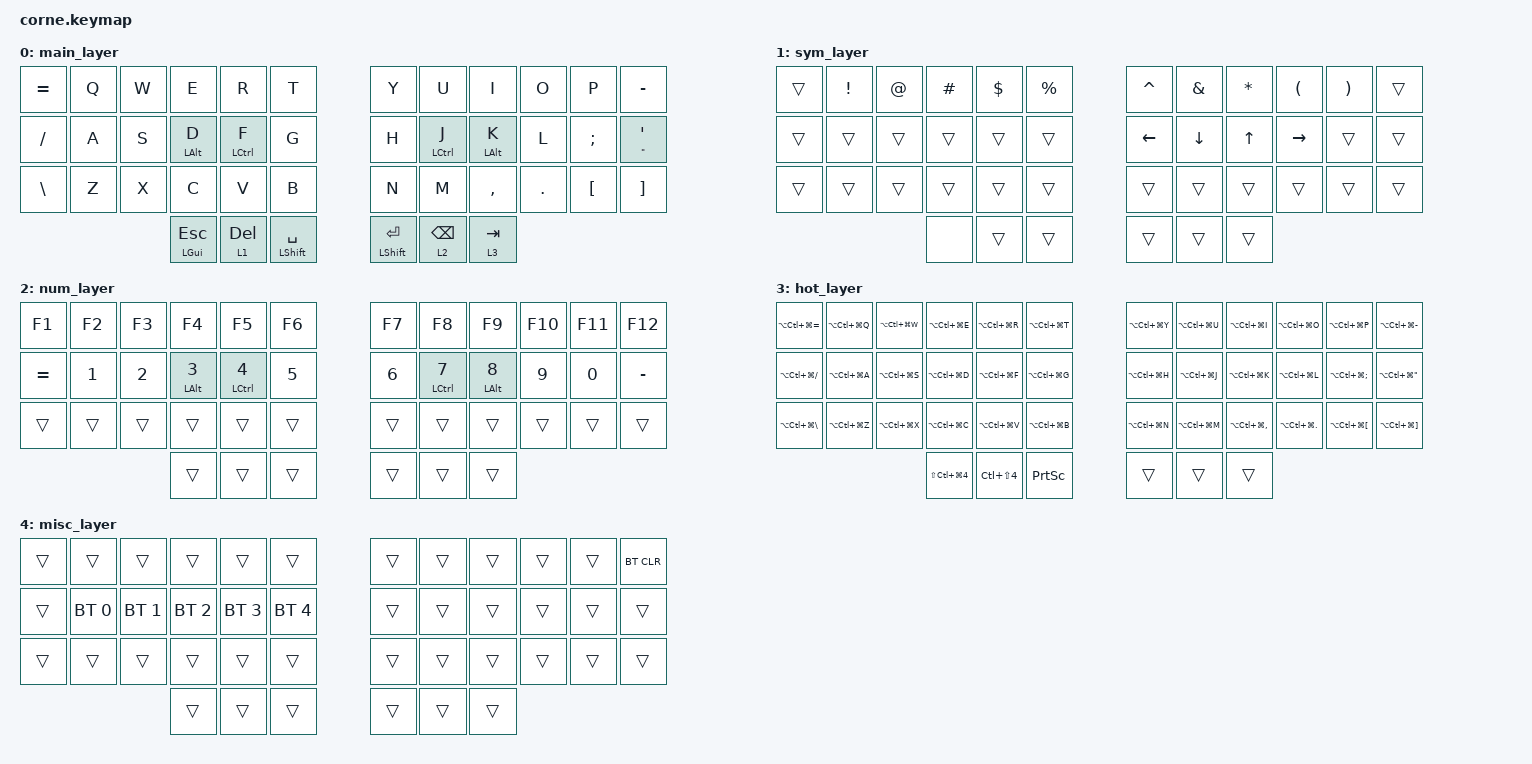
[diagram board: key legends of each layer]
/*
 * Copyright (c) 2020 The ZMK Contributors
 *
 * SPDX-License-Identifier: MIT
 */

#include <behaviors.dtsi>
#include <dt-bindings/zmk/bt.h>
#include <dt-bindings/zmk/keys.h>

/ {
    behaviors {
        lh_pht: left_positional_hold_tap {
            compatible = "zmk,behavior-hold-tap";
            #binding-cells = <2>;
            flavor = "balanced";
            tapping-term-ms = <280>;                        // <---[[produces tap if held longer than tapping-term-ms]]
            bindings = <&kp>, <&kp>;

            hold-trigger-key-positions = <19 20 21 22 18 30 31 32 33 34 35 23 11 10 9 8 7 6 39 40 41>;    // <---[[right-hand keys]]
            require-prior-idle-ms = <150>;
            quick-tap-ms = <175>;
            hold-trigger-on-release;
        };

        rh_pht: rh_pht {
            compatible = "zmk,behavior-hold-tap";
            #binding-cells = <2>;
            flavor = "balanced";
            tapping-term-ms = <280>;
            bindings = <&kp>, <&kp>;

            label = "RH_PHT";
            hold-trigger-key-positions = <0 1 2 3 4 5 12 13 14 15 16 17 24 25 26 27 28 29 36 37 38>;
            require-prior-idle-ms = <150>;
            quick-tap-ms = <175>;
            hold-trigger-on-release;
        };

        ht: ht {
            compatible = "zmk,behavior-hold-tap";
            label = "HT";
            bindings = <&kp>, <&kp>;

            #binding-cells = <2>;
            flavor = "tap-preferred";
            tapping-term-ms = <300>;
        };

        ht_layer: ht_layer {
            compatible = "zmk,behavior-hold-tap";
            label = "HT_LAYER";
            bindings = <&mo>, <&tog>;

            #binding-cells = <2>;
            tapping-term-ms = <300>;
            flavor = "tap-preferred";
        };

        mmb_less: mmb_less {
            compatible = "zmk,behavior-mod-morph";
            label = "MMB_LESS";
            bindings = <&kp RIGHT_BRACE>, <&kp LESS_THAN>;

            #binding-cells = <0>;
            mods = <(MOD_LSFT)>;
        };

        ht_key_layer: ht_key_layer {
            compatible = "zmk,behavior-hold-tap";
            label = "HT_KEY_LAYER";
            bindings = <&mo>, <&kp>;

            #binding-cells = <2>;
            tapping-term-ms = <300>;
            flavor = "tap-preferred";
        };
    };

    macros {
        lambda: lambda {
            compatible = "zmk,behavior-macro";
            #binding-cells = <0>;
            bindings = <&kp X &kp SPACE &kp EQUAL &kp GT &kp SPACE &kp LEFT_BRACE>;
            label = "LAMBDA";
        };

        lock: lock {
            compatible = "zmk,behavior-macro";
            #binding-cells = <0>;
            bindings =
                <&macro_pause_for_release>,
                <&macro_wait_time 50>,
                <&to 0>;

            label = "LOCK";
        };
    };

    keymap {
        compatible = "zmk,keymap";

        main_layer {
            // -----------------------------------------------------------------------------------------
            // |  TAB |  Q  |  W  |  E  |  R  |  T  |   |  Y  |  U   |  I  |  O  |  P  | BSPC |
            // | CTRL |  A  |  S  |  D  |  F  |  G  |   |  H  |  J   |  K  |  L  |  ;  |  '   |
            // | SHFT |  Z  |  X  |  C  |  V  |  B  |   |  N  |  M   |  ,  |  .  |  /  | ESC  |
            //                    | GUI | LWR | SPC |   | ENT | RSE  | ALT |

            bindings = <
&kp EQUAL  &kp Q  &kp W  &kp E                &kp R                   &kp T                   &kp Y                 &kp U                      &kp I                &kp O    &kp P     &kp MINUS
&kp FSLH   &kp A  &kp S  &lh_pht LEFT_ALT D   &lh_pht LCTRL F         &kp G                   &kp H                 &rh_pht LCTRL J            &rh_pht LEFT_ALT K   &kp L    &kp SEMI  &ht DOUBLE_QUOTES SINGLE_QUOTE
&kp BSLH   &kp Z  &kp X  &kp C                &kp V                   &kp B                   &kp N                 &kp M                      &kp COMMA            &kp DOT  &kp LBKT  &kp RBKT
                         &ht LEFT_GUI ESCAPE  &ht_key_layer 1 DELETE  &ht LEFT_SHIFT SPACE    &ht LEFT_SHIFT ENTER  &ht_key_layer 2 BACKSPACE  &ht_key_layer 3 TAB
            >;
        };

        sym_layer {
            // -----------------------------------------------------------------------------------------
            // |  TAB |  !  |  @  |  #  |  $  |  %  |   |  ^  |  &  |  *  |  (  |  )  | BSPC |
            // | CTRL |     |     |     |     |     |   |  -  |  =  |  [  |  ]  |  \  |  `   |
            // | SHFT |     |     |     |     |     |   |  _  |  +  |  {  |  }  | "|" |  ~   |
            //                    | GUI |     | SPC |   | ENT |     | ALT |

            bindings = <
&trans  &kp EXCL  &kp AT  &kp HASH  &kp DOLLAR  &kp PERCENT    &kp CARET       &kp AMPS        &kp STAR      &kp LEFT_PARENTHESIS  &kp RIGHT_PARENTHESIS  &trans
&trans  &trans    &trans  &trans    &trans      &trans         &kp LEFT_ARROW  &kp DOWN_ARROW  &kp UP_ARROW  &kp RIGHT             &trans                 &trans
&trans  &trans    &trans  &trans    &trans      &trans         &trans          &trans          &trans        &trans                &trans                 &trans
                          &none     &trans      &trans         &trans          &trans          &trans
            >;
        };

        num_layer {
            bindings = <
&kp F1     &kp F2  &kp F3  &kp F4           &kp F5            &kp F6    &kp F7  &kp F8            &kp F9               &kp F10  &kp F11  &kp F12
&kp EQUAL  &kp N1  &kp N2  &lh_pht LALT N3  &lh_pht LCTRL N4  &kp N5    &kp N6  &rh_pht LCTRL N7  &rh_pht LEFT_ALT N8  &kp N9   &kp N0   &kp MINUS
&trans     &trans  &trans  &trans           &trans            &trans    &trans  &trans            &trans               &trans   &trans   &trans
                           &trans           &trans            &trans    &trans  &trans            &trans
            >;
        };

        hot_layer {
            bindings = <
&kp LA(LC(LG(EQUAL)))  &kp LA(LC(LG(Q)))  &kp LA(LC(LG(W)))  &kp LA(LC(LG(E)))         &kp LA(LC(LG(R)))  &kp LA(LC(LG(T)))    &kp LA(LC(LG(Y)))  &kp LA(LC(LG(U)))  &kp LA(LC(LG(I)))      &kp LA(LC(LG(O)))    &kp LA(LC(LG(P)))     &kp LA(LC(LG(MINUS)))
&kp LA(LC(LG(FSLH)))   &kp LA(LC(LG(A)))  &kp LA(LC(LG(S)))  &kp LA(LC(LG(D)))         &kp LA(LC(LG(F)))  &kp LA(LC(LG(G)))    &kp LA(LC(LG(H)))  &kp LA(LC(LG(J)))  &kp LA(LC(LG(K)))      &kp LA(LC(LG(L)))    &kp LA(LC(LG(SEMI)))  &kp LA(LC(LG(DOUBLE_QUOTES)))
&kp LA(LC(LG(BSLH)))   &kp LA(LC(LG(Z)))  &kp LA(LC(LG(X)))  &kp LA(LC(LG(C)))         &kp LA(LC(LG(V)))  &kp LA(LC(LG(B)))    &kp LA(LC(LG(N)))  &kp LA(LC(LG(M)))  &kp LA(LC(LG(COMMA)))  &kp LA(LC(LG(DOT)))  &kp LA(LC(LG(LBKT)))  &kp LA(LC(LG(RBKT)))
                                                             &kp LS(LC(LG(NUMBER_4)))  &kp LC(LS(N4))     &kp PRINTSCREEN      &trans             &trans             &trans
            >;
        };

        misc_layer {
            bindings = <
&trans  &trans        &trans        &trans        &trans        &trans          &trans  &trans  &trans  &trans  &trans  &bt BT_CLR
&trans  &bt BT_SEL 0  &bt BT_SEL 1  &bt BT_SEL 2  &bt BT_SEL 3  &bt BT_SEL 4    &trans  &trans  &trans  &trans  &trans  &trans
&trans  &trans        &trans        &trans        &trans        &trans          &trans  &trans  &trans  &trans  &trans  &trans
                                    &trans        &trans        &trans          &trans  &trans  &trans
            >;
        };
    };

    conditional_layers {
        compatible = "zmk,conditional-layers";

        misc {
            if-layers = <1 2>;
            then-layer = <4>;
        };
    };
};
